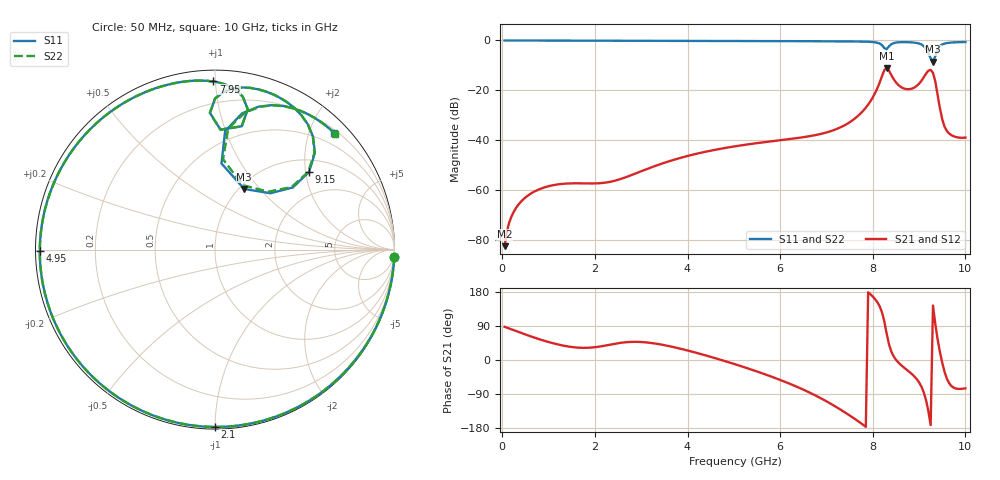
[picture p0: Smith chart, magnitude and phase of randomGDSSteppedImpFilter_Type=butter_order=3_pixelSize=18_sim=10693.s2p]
! freq	dB(S11)	phase(S11)	dB(S12)	phase(S12)
!  dB(S21)	phase(S21)	dB(S22)	phase(S22)
!S-par simulation data
#  GHz  S  DB  R 50
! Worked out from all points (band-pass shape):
!   200 points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, 50 MHz to 10 GHz, reference 50 ohm
!   highest |S21| = -11.01 dB at 8.3 GHz (marker M1); lowest = -82.3 dB at 50 MHz (marker M2)
!   |S21| within 3 dB of the highest: 8.205 GHz to 8.405 GHz (200.6 MHz wide, 2.42 % of centre); 9.126 GHz to 9.316 GHz (189.9 MHz wide, 2.06 % of centre)
!   lowest |S11| = -8.5 dB at 9.3 GHz (marker M3), VSWR 2.20, Z = 52.8 + j41.5 ohm
!   |S11| at or under -10 dB: nowhere
!   |S22| runs from -8.2 to 0.0 dB; largest |S21 - S12| = 0
!   S11 on the Smith chart (normalised r, x): 50 MHz: 0, -49; 2.1 GHz: 0.01, -1.00; 4.95 GHz: 0.01, -0.00; 7.95 GHz: 0.06, +0.99; 9.15 GHz: 1.30, +2.09; 10 GHz: 0.26, +2.44
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0.05  -0.00 -2.4  -82.32 87.6  -82.32 87.6  -0.00 -2.4
0.25  -0.02 -11.6  -68.47 78.4  -68.47 78.4  -0.02 -11.6
0.55  -0.03 -25.4  -62.11 65.1  -62.11 65.1  -0.03 -25.4
1.75  -0.09 -76.7  -57.19 32.1  -57.19 32.1  -0.09 -76.7
2.1  -0.10 -90.1  -57.13 35.4  -57.13 35.4  -0.10 -90.2
3.4  -0.15 -134.4  -49.57 41.5  -49.57 41.5  -0.15 -134.4
4.95  -0.21 -179.5  -42.58 -8.3  -42.58 -8.3  -0.21 -179.6
5.05  -0.21 177.7  -42.29 -12.1  -42.29 -12.1  -0.21 177.7
6.7  -0.31 131.5  -38.09 -89.8  -38.09 -89.8  -0.31 131.5
7.45  -0.38 108.8  -33.33 -142.3  -33.33 -142.3  -0.38 108.7
7.95  -0.57 90.6  -24.32 173.4  -24.32 173.4  -0.57 90.6
8.2  -1.91 76.8  -14.22 125.5  -14.22 125.5  -1.91 76.8
8.3  -3.49 87.4  -11.01 69.7  -11.01 69.7  -3.49 87.4
8.35  -2.36 92.1  -12.08 41.5  -12.08 41.5  -2.36 92.2
8.75  -0.69 69.4  -19.52 -27.5  -19.52 -27.5  -0.69 69.5
9  -1.23 53.3  -17.30 -59.0  -17.30 -59.0  -1.23 53.4
9.15  -3.35 39.6  -13.29 -105.8  -13.29 -105.8  -3.39 39.8
9.25  -7.13 45.5  -11.78 -171.7  -11.78 -171.7  -7.18 47.5
9.3  -8.52 64.2  -12.92 143.6  -12.92 143.6  -8.16 66.6
9.4  -3.57 85.1  -21.71 54.5  -21.71 54.5  -3.38 83.8
9.55  -1.25 68.4  -34.49 -31.3  -34.49 -31.3  -1.22 67.7
10  -0.64 44.3  -38.88 -74.9  -38.88 -74.9  -0.63 43.9
